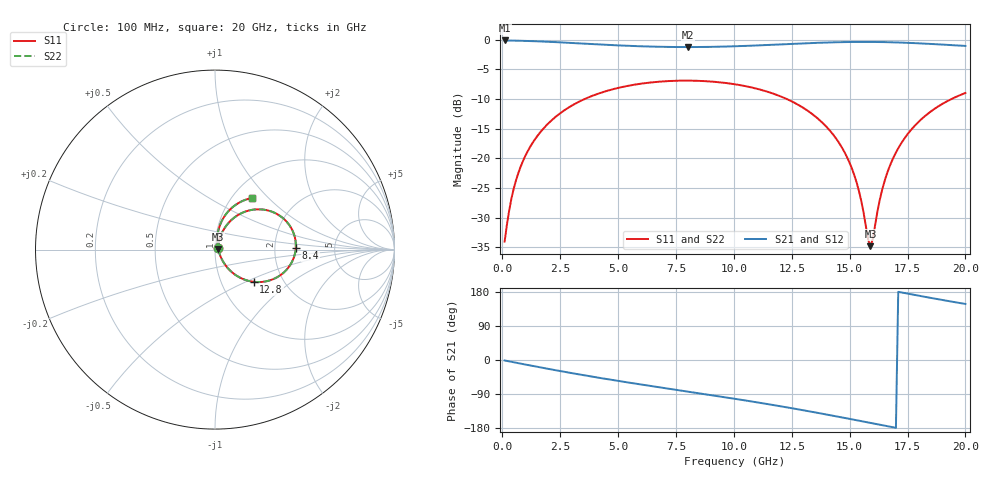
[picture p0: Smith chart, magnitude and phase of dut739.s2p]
! Touchstone file exported from HFSS 2026.1.0
!  File:  C:/ffzhzh/LocalFiles/Ansys_Project_Files/temp_train_TSV_RDL_739_1783204291_18472.aedt
!  Generated:  06:41:15 AM Jul  5, 2026
!  Design:  TSV_RDL
!  Project:  temp_train_TSV_RDL_739_1783204291_18472
! Variables:
!  h_bsmrdl = 2.57um
!  h_ox = 20um
!  h_rdl = 5um
!  h_sub = 93.69um
!  h_tmrdl = 5.7um
!  h_tsv = 93.69um
!  h_via = 3um
!  l_bsmrdl = 170.56um
!  l_sub = 3072.18um
!  l_tmrdl = 520.58um
!  m_sub = 200um
!  pitch = 42.31um
!  r_tsv = 12.7um
!  s_tmrdl = 10um
!  w_bsmrdl = 13.42um
!  w_sub = 500um
!  w_tmrdl = 12.64um
!  x_tsv_center1 = 526.9um
!  x_tsv_center2 = 710.88um
!  x_tsv_center3 = 1244.1um
!  x_tsv_center4 = 1428.08um
!  x_tsv_center5 = 1961.3um
!  x_tsv_center6 = 2145.28um
# GHz S MA R 50.000000
! Terminal data exported
! Port[1] = TM_RDL1_1_T1
! Port[2] = TM_RDL5_1_T1
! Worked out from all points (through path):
!   200 points, 100 MHz to 20 GHz, reference 50 ohm
!   highest |S21| = -0.15 dB at 100 MHz (marker M1); lowest = -1.3 dB at 8 GHz (marker M2)
!   group delay of S21, straight-line fit = 28.7 ps
!   lowest |S11| = -34.8 dB at 15.9 GHz (marker M3), VSWR 1.04, Z = 51.8 + j0.41 ohm
!   |S11| at or under -10 dB: start of sweep to 3.562 GHz; 12.28 GHz to 19.4 GHz (7.12 GHz wide, 44.9 % of centre)
!   |S22| runs from -34.8 to -6.9 dB; largest |S21 - S12| = 1.7e-14
!   S11 on the Smith chart (normalised r, x): 100 MHz: 1.03, +0.02; 8.4 GHz: 2.64, +0.05; 12.8 GHz: 1.42, -0.56; 20 GHz: 1.23, +0.81
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0.1  0.01997 32.4  0.9833 -1.2  0.9833 -1.2  0.01997 32.4
! Gamma 0 0 0 0
! Port Impedance 50 0 50 0
0.3  0.03674 58.2  0.982 -3.7  0.982 -3.7  0.03674 58.2
0.5  0.05624 65.2  0.9802 -6.1  0.9802 -6.1  0.05624 65.2
1.1  0.1151 66.8  0.9735 -13.2  0.9735 -13.2  0.1151 66.8
2.1  0.2066 59.2  0.9563 -24.7  0.9563 -24.7  0.2066 59.2
3.5  0.3123 45.6  0.9253 -39.9  0.9253 -39.9  0.3123 45.6
6.8  0.4427 15.0  0.8697 -72.2  0.8697 -72.2  0.4427 15.0
8  0.4515 4.4  0.865 -83.3  0.865 -83.3  0.4515 4.4
8.4  0.45 0.9  0.8656 -86.9  0.8656 -86.9  0.45 0.9
10.1  0.419 -14.3  0.8791 -102.9  0.8791 -102.9  0.419 -14.3
12.8  0.281 -39.7  0.9253 -130.4  0.9253 -130.4  0.281 -39.8
13.4  0.2351 -45.4  0.9358 -137.0  0.9358 -137.0  0.2351 -45.5
14.3  0.1575 -53.2  0.9485 -147.2  0.9485 -147.2  0.1575 -53.2
15  0.09167 -56.3  0.9545 -155.4  0.9545 -155.4  0.09167 -56.3
15.4  0.05341 -52.4  0.9561 -160.1  0.9561 -160.1  0.05339 -52.5
15.8  0.02076 -15.5  0.9561 -164.8  0.9561 -164.8  0.02068 -15.7
15.9  0.01824 12.5  0.9558 -166.0  0.9558 -166.0  0.01814 12.5
16.4  0.05396 76.4  0.9532 -171.9  0.9532 -171.9  0.05391 76.5
16.7  0.08289 80.0  0.9504 -175.5  0.9504 -175.5  0.08285 80.0
17.3  0.1408 78.4  0.9426 177.5  0.9426 177.5  0.1407 78.5
18  0.2051 73.0  0.9301 169.5  0.9301 169.5  0.205 73.0
20  0.3551 54.1  0.8844 147.9  0.8844 147.9  0.3551 54.2
